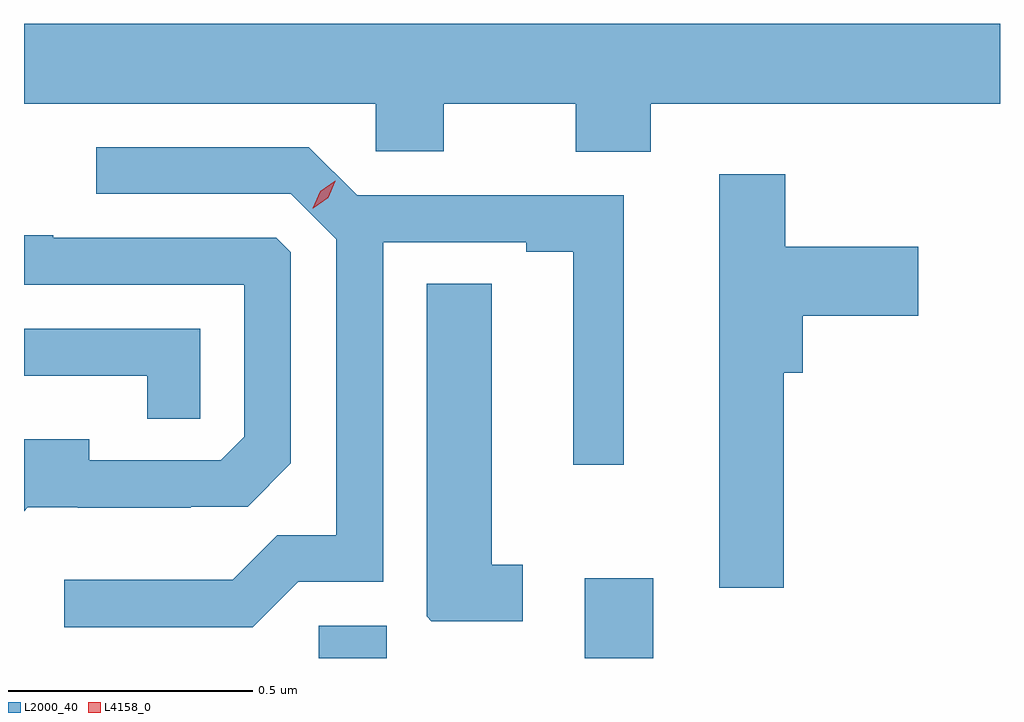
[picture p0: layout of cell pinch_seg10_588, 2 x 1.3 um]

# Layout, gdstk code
import gdstk
lib = gdstk.Library(unit=1e-6, precision=1e-09)
def R(c, l, rs):  # rectangles x0, y0, x1, y1
    for r in rs: c.add(gdstk.rectangle(r[:2], r[2:], *l))
def P(c, l, *ps):  # polygons
    for p in ps: c.add(gdstk.Polygon(p, *l))
L2000_40 = (2000, 40)
L4158_0 = (4158, 0)

pinch_seg10_588 = lib.new_cell('pinch_seg10_588')
R(pinch_seg10_588, L2000_40, [(339.441,1267.211,339.58,1267.278), (339.986,1267.211,340.126,1267.375)])
P(pinch_seg10_588, L2000_40, [(338.837,1268.348),(339.558,1268.348),(339.558,1268.25),(339.697,1268.25),(339.697,1268.348),(339.968,1268.348),(339.968,1268.249),(340.121,1268.249),(340.121,1268.348),(340.837,1268.348),(340.837,1268.512),(338.837,1268.512)],
  [(339.399,1267.368),(339.573,1267.368),(339.573,1268.064),(339.866,1268.064),(339.866,1268.044),(339.962,1268.044),(339.962,1267.608),(340.066,1267.608),(340.066,1268.16),(339.52,1268.16),(339.421,1268.259),(338.985,1268.259),(338.985,1268.163),(339.384,1268.163),(339.477,1268.07),(339.477,1267.463),(339.356,1267.463),(339.265,1267.372),(338.919,1267.372),(338.919,1267.275),(339.306,1267.275)],
  [(340.394,1267.796),(340.433,1267.796),(340.433,1267.913),(340.669,1267.913),(340.669,1268.055),(340.397,1268.055),(340.397,1268.203),(340.262,1268.203),(340.262,1267.356),(340.394,1267.356)],
  [(338.845,1267.521),(338.947,1267.521),(338.947,1267.52),(339.179,1267.52),(339.179,1267.522),(339.295,1267.522),(339.384,1267.611),(339.384,1268.043),(339.354,1268.073),(338.897,1268.073),(338.897,1268.078),(338.837,1268.078),(338.837,1267.977),(339.288,1267.977),(339.288,1267.665),(339.24,1267.617),(338.971,1267.617),(338.971,1267.66),(338.837,1267.66),(338.837,1267.513)],
  [(339.859,1267.403),(339.796,1267.403),(339.796,1267.979),(339.662,1267.979),(339.662,1267.297),(339.672,1267.287),(339.859,1267.287)],
  [(339.198,1267.887),(338.837,1267.887),(338.837,1267.79),(339.09,1267.79),(339.09,1267.702),(339.198,1267.702)])
P(pinch_seg10_588, L4158_0, [(339.429,1268.134),(339.429,1268.134),(339.444,1268.168),(339.475,1268.19),(339.475,1268.19),(339.475,1268.189),(339.46,1268.155),(339.43,1268.134)])

lib.write_gds('pinch_seg10_588.gds')
